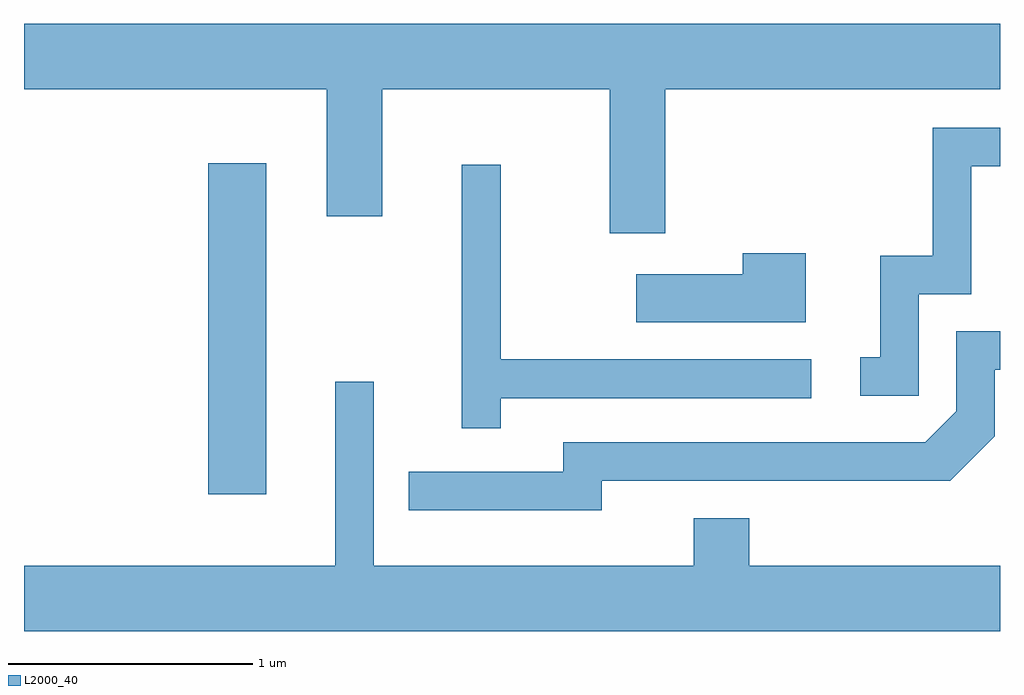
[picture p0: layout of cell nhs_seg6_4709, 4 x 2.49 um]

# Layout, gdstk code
import gdstk
lib = gdstk.Library(unit=1e-6, precision=1e-09)
def R(c, l, rs):  # rectangles x0, y0, x1, y1
    for r in rs: c.add(gdstk.rectangle(r[:2], r[2:], *l))
def P(c, l, *ps):  # polygons
    for p in ps: c.add(gdstk.Polygon(p, *l))
L2000_40 = (2000, 40)

nhs_seg6_4709 = lib.new_cell('nhs_seg6_4709')
R(nhs_seg6_4709, L2000_40, [(330.366,1555.036,330.604,1556.394)])
P(nhs_seg6_4709, L2000_40, [(332.239,1556.696),(333.611,1556.696),(333.611,1556.964),(329.611,1556.964),(329.611,1556.696),(330.851,1556.696),(330.851,1556.176),(331.079,1556.176),(331.079,1556.696),(332.011,1556.696),(332.011,1556.106),(332.239,1556.106)],
  [(333.279,1555.856),(333.494,1555.856),(333.494,1556.381),(333.611,1556.381),(333.611,1556.539),(333.336,1556.539),(333.336,1556.014),(333.121,1556.014),(333.121,1555.599),(333.038,1555.599),(333.038,1555.441),(333.279,1555.441)],
  [(331.564,1555.431),(332.838,1555.431),(332.838,1555.589),(331.564,1555.589),(331.564,1556.388),(331.406,1556.388),(331.406,1555.308),(331.564,1555.308)],
  [(332.814,1556.024),(332.556,1556.024),(332.556,1555.939),(332.121,1555.939),(332.121,1555.741),(332.814,1555.741)],
  [(331.979,1555.091),(333.407,1555.091),(333.589,1555.274),(333.589,1555.546),(333.611,1555.546),(333.611,1555.704),(333.431,1555.704),(333.431,1555.377),(333.304,1555.249),(331.821,1555.249),(331.821,1555.129),(331.188,1555.129),(331.188,1554.971),(331.979,1554.971)],
  [(333.611,1554.744),(332.584,1554.744),(332.584,1554.939),(332.356,1554.939),(332.356,1554.744),(331.044,1554.744),(331.044,1555.498),(330.886,1555.498),(330.886,1554.744),(329.611,1554.744),(329.611,1554.476),(333.611,1554.476)])

lib.write_gds('nhs_seg6_4709.gds')
